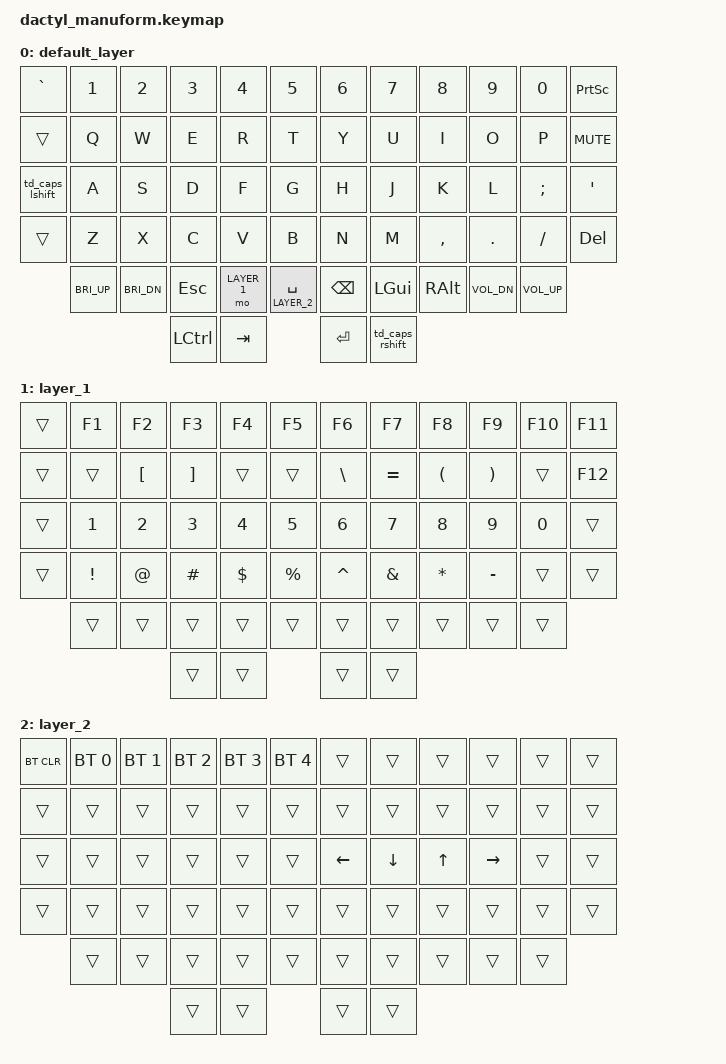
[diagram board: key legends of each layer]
#include <behaviors.dtsi>
#include <dt-bindings/zmk/keys.h>
#include <dt-bindings/zmk/bt.h>

#define LAYER_1 1
#define LAYER_2 2

/ {
    behaviors {
        td_caps_lshift: tap_dance_caps_lshift {
            compatible = "zmk,behavior-tap-dance";
            label = "TAP_DANCE_CAPS_LSHIFT";
            #binding-cells = <0>;
            tapping-term-ms = <200>;
            bindings = <&kp LSHFT>, <&kp CAPS>;
        };

        td_caps_rshift: tap_dance_caps_rshift {
            compatible = "zmk,behavior-tap-dance";
            label = "TAP_DANCE_CAPS_RSHIFT";
            #binding-cells = <0>;
            tapping-term-ms = <200>;
            bindings = <&kp RSHFT>, <&kp CAPS>;
        };
    };

    keymap {
        compatible = "zmk,keymap";

        default_layer {
            bindings = <
                &kp GRAVE       &kp N1          &kp N2          &kp N3          &kp N4          &kp N5              &kp N6          &kp N7          &kp N8          &kp N9          &kp N0          &kp PSCRN
                &trans          &kp Q           &kp W           &kp E           &kp R           &kp T               &kp Y           &kp U           &kp I           &kp O           &kp P           &kp C_MUTE
                &td_caps_lshift &kp A           &kp S           &kp D           &kp F           &kp G               &kp H           &kp J           &kp K           &kp L           &kp SEMI        &kp SQT
                &trans          &kp Z           &kp X           &kp C           &kp V           &kp B               &kp N           &kp M           &kp COMMA       &kp DOT         &kp FSLH        &kp DEL
                                &kp C_BRI_UP    &kp C_BRI_DN    &kp ESC         &mo LAYER_1     &lt LAYER_2 SPACE   &kp BSPC        &kp LGUI        &kp RALT        &kp C_VOL_DN    &kp C_VOL_UP
                                                                &kp LCTRL       &kp TAB                             &kp RET         &td_caps_rshift
            >;
        };

        layer_1 {
            bindings = <
                &trans          &kp F1          &kp F2          &kp F3          &kp F4          &kp F5              &kp F6          &kp F7          &kp F8          &kp F9          &kp F10         &kp F11
                &trans          &trans          &kp LBKT        &kp RBKT        &trans          &trans              &kp BSLH        &kp EQUAL       &kp LPAR        &kp RPAR        &trans          &kp F12
                &trans          &kp N1          &kp N2          &kp N3          &kp N4          &kp N5              &kp N6          &kp N7          &kp N8          &kp N9          &kp N0          &trans
                &trans          &kp EXCL        &kp AT          &kp HASH        &kp DLLR        &kp PRCNT           &kp CARET       &kp AMPS        &kp ASTRK       &kp MINUS       &trans          &trans
                                &trans          &trans          &trans          &trans          &trans              &trans          &trans          &trans          &trans          &trans
                                                                &trans          &trans                              &trans          &trans
            >;
        };

        layer_2 {
            bindings = <
                &bt BT_CLR      &bt BT_SEL 0    &bt BT_SEL 1    &bt BT_SEL 2    &bt BT_SEL 3    &bt BT_SEL 4        &trans          &trans          &trans          &trans          &trans          &trans
                &trans          &trans          &trans          &trans          &trans          &trans              &trans          &trans          &trans          &trans          &trans          &trans
                &trans          &trans          &trans          &trans          &trans          &trans              &kp LEFT        &kp DOWN        &kp UP          &kp RIGHT       &trans          &trans
                &trans          &trans          &trans          &trans          &trans          &trans              &trans          &trans          &trans          &trans          &trans          &trans
                                &trans          &trans          &trans          &trans          &trans              &trans          &trans          &trans          &trans          &trans
                                                                &trans          &trans                              &trans          &trans
            >;
        };
    };
};
